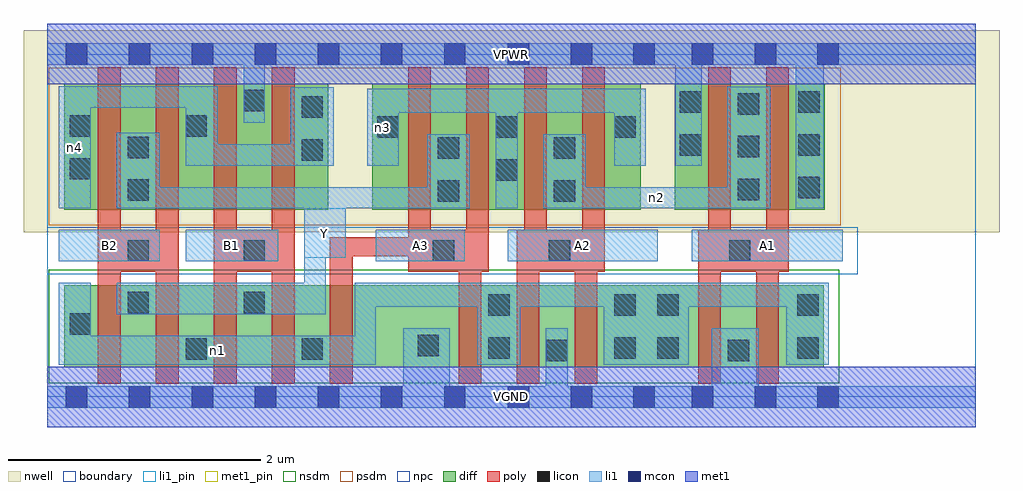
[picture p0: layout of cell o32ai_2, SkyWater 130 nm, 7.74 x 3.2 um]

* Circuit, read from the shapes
.subckt o32ai_2 A1 A2 A3 B1 B2 VGND VPWR Y n1 n2 n3 n4
XM1 Y B2 n1 VSUBS sky130_fd_pr__nfet_01v8 w=0.65 l=0.18 m=2
XM2 Y B1 n1 VSUBS sky130_fd_pr__nfet_01v8 w=0.65 l=0.18 m=2
XM3 VGND A3 n1 VSUBS sky130_fd_pr__nfet_01v8 w=0.65 l=0.18 m=2
XM4 VGND A2 n1 VSUBS sky130_fd_pr__nfet_01v8 w=0.65 l=0.18 m=2
XM5 VGND A1 n1 VSUBS sky130_fd_pr__nfet_01v8 w=0.65 l=0.18 m=2
XM6 Y B2 n4 n5 sky130_fd_pr__pfet_01v8 w=1 l=0.18 m=2
XM7 VPWR B1 n4 n5 sky130_fd_pr__pfet_01v8 w=1 l=0.18 m=2
XM8 Y A3 n3 n5 sky130_fd_pr__pfet_01v8 w=1 l=0.18 m=2
XM9 n2 A2 n3 n5 sky130_fd_pr__pfet_01v8 w=1 l=0.18 m=2
XM10 n2 A1 VPWR n5 sky130_fd_pr__pfet_01v8 w=1 l=0.18 m=2
.ends

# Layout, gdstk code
import gdstk
lib = gdstk.Library(unit=1e-6, precision=1e-09)
def R(c, l, rs):  # rectangles x0, y0, x1, y1
    for r in rs: c.add(gdstk.rectangle(r[:2], r[2:], *l))
def A(c, l, x, y, w, h, nx, ny, dx, dy):  # array of equal rectangles
    R(c, l, [(x+i*dx, y+j*dy, x+i*dx+w, y+j*dy+h) for i in range(nx) for j in range(ny)])
nwell = (64, 20)
diff = (65, 20)
poly = (66, 20)
licon = (66, 44)
li1_pin = (67, 16)
li1 = (67, 20)
mcon = (67, 44)
met1_pin = (68, 16)
met1 = (68, 20)
nsdm = (93, 44)
psdm = (94, 20)
npc = (95, 20)
boundary = (235, 4)

o32ai_2 = lib.new_cell('o32ai_2')
R(o32ai_2, nwell, [(-0.19,1.305,7.55,2.91), (0,1.305,7.36,2.91)])
R(o32ai_2, diff, [(0.135,0.235,6.155,0.885), (0.135,1.485,2.225,2.485), (2.575,1.485,4.705,2.485), (4.975,1.485,6.165,2.485)])
A(o32ai_2, poly, 0.4, 0.105, 0.18, 2.51, 4, 1, 0.46, 0)
A(o32ai_2, poly, 3.26, 0.105, 0.18, 1.22, 3, 1, 0.46, 0)
A(o32ai_2, poly, 2.86, 0.995, 0.18, 1.62, 4, 1, 0.46, 0)
R(o32ai_2, poly, [(2.24,0.105,2.42,1.265), (5.16,0.105,5.34,1.325), (5.62,0.105,5.8,1.325), (0.4,0.995,1.04,1.325), (1.32,0.995,1.96,1.325), (2.86,0.995,3.5,1.325), (3.72,0.995,4.42,1.325), (5.16,0.995,5.88,1.325), (5.24,0.995,5.42,2.615), (5.7,0.995,5.88,2.615), (2.24,1.115,3.5,1.265)])
A(o32ai_2, licon, 5.475, 1.56, 0.17, 0.17, 1, 3, 0, 0.34)
A(o32ai_2, licon, 5.955, 1.575, 0.17, 0.17, 1, 3, 0, 0.34)
A(o32ai_2, licon, 2.615, 2.055, 0.17, 0.17, 3, 1, 0.94, 0)
R(o32ai_2, licon, [(3.955,0.285,4.125,0.455), (5.395,0.285,5.565,0.455), (1.095,0.295,1.265,0.465), (2.015,0.295,2.185,0.465), (3.495,0.305,3.665,0.475), (4.495,0.305,4.665,0.475), (4.835,0.305,5.005,0.475), (5.945,0.305,6.115,0.475), (2.935,0.325,3.105,0.495), (0.175,0.495,0.345,0.665), (3.495,0.645,3.665,0.815), (4.495,0.645,4.665,0.815), (4.835,0.645,5.005,0.815), (5.945,0.645,6.115,0.815), (0.635,0.665,0.805,0.835), (1.555,0.665,1.725,0.835), (0.635,1.075,0.805,1.245), (1.555,1.075,1.725,1.245), (3.055,1.075,3.225,1.245), (3.975,1.075,4.145,1.245), (5.405,1.075,5.575,1.245), (3.095,1.55,3.265,1.72), (4.015,1.55,4.185,1.72), (0.635,1.555,0.805,1.725), (3.555,1.715,3.725,1.885), (0.175,1.725,0.345,1.895), (2.015,1.875,2.185,2.045), (3.095,1.89,3.265,2.06), (4.015,1.89,4.185,2.06), (0.635,1.895,0.805,2.065), (5.015,1.915,5.185,2.085), (0.175,2.065,0.345,2.235), (1.095,2.065,1.265,2.235), (2.015,2.215,2.185,2.385), (5.015,2.255,5.185,2.425), (1.555,2.265,1.725,2.435)])
R(o32ai_2, li1_pin, [(0.09,1.075,0.89,1.325), (1.095,1.075,1.83,1.325), (2.605,1.075,3.31,1.325), (3.65,1.075,4.84,1.325), (5.11,1.075,6.305,1.325), (2.035,1.105,2.365,1.495)])
R(o32ai_2, li1, [(0,-0.085,7.36,0.085), (2.82,-0.085,3.19,0.545), (3.95,-0.085,4.125,0.545), (5.27,-0.085,5.64,0.545), (0.09,0.255,2.605,0.485), (0.09,0.255,0.345,0.905), (2.435,0.255,2.605,0.905), (3.41,0.255,3.75,0.905), (4.41,0.255,5.085,0.905), (5.86,0.255,6.195,0.905), (0.55,0.655,2.205,0.905), (2.035,0.655,2.205,1.665), (2.435,0.715,6.195,0.905), (0.09,1.075,0.89,1.325), (1.095,1.075,1.83,1.325), (2.605,1.075,3.31,1.325), (3.65,1.075,4.84,1.325), (5.11,1.075,6.305,1.325), (2.035,1.105,2.365,1.495), (0.09,1.495,0.345,2.465), (0.55,1.495,3.35,1.665), (0.55,1.495,0.89,2.095), (3.01,1.495,3.35,2.085), (3.555,1.495,3.73,2.445), (3.93,1.495,4.27,2.085), (3.93,1.495,5.73,1.665), (5.39,1.495,5.73,2.46), (5.935,1.495,6.155,2.805), (1.095,1.835,1.35,2.465), (1.095,1.835,2.27,2.005), (1.93,1.835,2.27,2.455), (2.535,1.835,2.785,2.445), (4.495,1.835,4.745,2.445), (4.98,1.835,5.19,2.805), (1.555,2.175,1.725,2.805), (2.535,2.255,4.745,2.445), (0.09,2.295,1.35,2.465), (0,2.635,7.36,2.805)])
A(o32ai_2, mcon, 0.145, -0.085, 0.17, 0.17, 7, 2, 0.5, 2.72)
R(o32ai_2, mcon, [(3.65,-0.085,3.82,0.085), (4.15,-0.085,4.32,0.085), (4.645,-0.085,4.815,0.085), (5.11,-0.085,5.28,0.085), (5.61,-0.085,5.78,0.085), (6.105,-0.085,6.275,0.085), (3.65,2.635,3.82,2.805), (4.15,2.635,4.32,2.805), (4.645,2.635,4.815,2.805), (5.11,2.635,5.28,2.805), (5.61,2.635,5.78,2.805), (6.105,2.635,6.275,2.805)])
R(o32ai_2, met1_pin, [(0,-0.24,7.36,0.24), (0,2.48,7.36,2.96)])
R(o32ai_2, met1, [(0,-0.24,7.36,0.24), (0,2.48,7.36,2.96)])
R(o32ai_2, nsdm, [(0.01,0.11,6.28,1.01)])
R(o32ai_2, psdm, [(0.01,1.36,6.29,2.61)])
R(o32ai_2, npc, [(0,0.975,6.425,1.345)])
R(o32ai_2, boundary, [(0,0,7.36,2.72)])
o32ai_2.add(gdstk.Label('A1', (5.707,1.2), layer=67, texttype=5))
o32ai_2.add(gdstk.Label('A2', (4.245,1.2), layer=67, texttype=5))
o32ai_2.add(gdstk.Label('A3', (2.957,1.2), layer=67, texttype=5))
o32ai_2.add(gdstk.Label('B1', (1.462,1.2), layer=67, texttype=5))
o32ai_2.add(gdstk.Label('B2', (0.49,1.2), layer=67, texttype=5))
o32ai_2.add(gdstk.Label('Y', (2.2,1.3), layer=67, texttype=5))
o32ai_2.add(gdstk.Label('n1', (1.347,0.37), layer=67, texttype=5))
o32ai_2.add(gdstk.Label('n3', (2.66,2.14), layer=67, texttype=5))
o32ai_2.add(gdstk.Label('n2', (4.83,1.58), layer=67, texttype=5))
o32ai_2.add(gdstk.Label('n4', (0.217,1.98), layer=67, texttype=5))
o32ai_2.add(gdstk.Label('VPWR', (3.68,2.72), layer=68, texttype=5))
o32ai_2.add(gdstk.Label('VGND', (3.68,0), layer=68, texttype=5))
o32ai_2.add(gdstk.Label('A1', (5.707,1.2), layer=67, texttype=16))
o32ai_2.add(gdstk.Label('A2', (4.245,1.2), layer=67, texttype=16))
o32ai_2.add(gdstk.Label('A3', (2.957,1.2), layer=67, texttype=16))
o32ai_2.add(gdstk.Label('B1', (1.462,1.2), layer=67, texttype=16))
o32ai_2.add(gdstk.Label('B2', (0.49,1.2), layer=67, texttype=16))
o32ai_2.add(gdstk.Label('Y', (2.2,1.3), layer=67, texttype=16))
o32ai_2.add(gdstk.Label('VPWR', (3.68,2.72), layer=68, texttype=16))
o32ai_2.add(gdstk.Label('VGND', (3.68,0), layer=68, texttype=16))

lib.write_gds('o32ai_2.gds')
